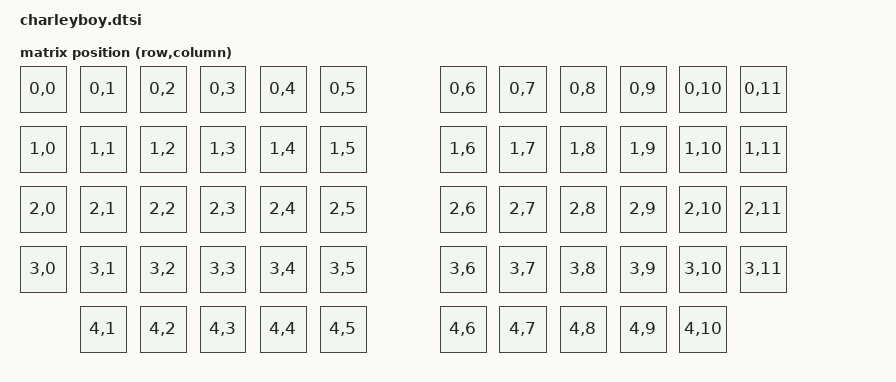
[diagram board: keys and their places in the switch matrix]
#include <dt-bindings/zmk/matrix_transform.h>
#include <physical_layouts.dtsi>


/ {
    chosen {
        zmk,kscan = &kscan0;
       /* zmk,matrix-transform = &default_transform; */
        zmk,physical-layout = &default_layout;
    };

    kscan0: kscan {
        compatible = "zmk,kscan-gpio-matrix";
        diode-direction = "col2row";
        wakeup-source;
    };

    default_transform: matrix_transform {
        compatible = "zmk,matrix-transform";
        columns = <12>;
        rows = <5>;

        map = <
RC(0,0) RC(0,1) RC(0,2) RC(0,3) RC(0,4) RC(0,5)  RC(0,6) RC(0,7) RC(0,8) RC(0,9) RC(0,10) RC(0,11)
RC(1,0) RC(1,1) RC(1,2) RC(1,3) RC(1,4) RC(1,5)  RC(1,6) RC(1,7) RC(1,8) RC(1,9) RC(1,10) RC(1,11)
RC(2,0) RC(2,1) RC(2,2) RC(2,3) RC(2,4) RC(2,5)  RC(2,6) RC(2,7) RC(2,8) RC(2,9) RC(2,10) RC(2,11)
RC(3,0) RC(3,1) RC(3,2) RC(3,3) RC(3,4) RC(3,5)  RC(3,6) RC(3,7) RC(3,8) RC(3,9) RC(3,10) RC(3,11)
        RC(4,1) RC(4,2) RC(4,3) RC(4,4) RC(4,5)  RC(4,6) RC(4,7) RC(4,8) RC(4,9) RC(4,10)
        >;
    };

    default_layout: default_layout {
        compatible = "zmk,physical-layout";
        display-name = "Default Layout";
        kscan = <&kscan0>;
        transform = <&default_transform>;

        keys
        // ========================
        // ROW 0
        // ========================
        = <&key_physical_attrs 100 100    0    0 0 0 0>
        , <&key_physical_attrs 100 100  120    0 0 0 0>
        , <&key_physical_attrs 100 100  240    0 0 0 0>
        , <&key_physical_attrs 100 100  360    0 0 0 0>
        , <&key_physical_attrs 100 100  480    0 0 0 0>
        , <&key_physical_attrs 100 100  600    0 0 0 0>

        , <&key_physical_attrs 100 100  840    0 0 0 0>
        , <&key_physical_attrs 100 100  960    0 0 0 0>
        , <&key_physical_attrs 100 100 1080    0 0 0 0>
        , <&key_physical_attrs 100 100 1200    0 0 0 0>
        , <&key_physical_attrs 100 100 1320    0 0 0 0>
        , <&key_physical_attrs 100 100 1440    0 0 0 0>

        // ========================
        // ROW 1
        // ========================
        , <&key_physical_attrs 100 100    0  120 0 0 0>
        , <&key_physical_attrs 100 100  120  120 0 0 0>
        , <&key_physical_attrs 100 100  240  120 0 0 0>
        , <&key_physical_attrs 100 100  360  120 0 0 0>
        , <&key_physical_attrs 100 100  480  120 0 0 0>
        , <&key_physical_attrs 100 100  600  120 0 0 0>

        , <&key_physical_attrs 100 100  840  120 0 0 0>
        , <&key_physical_attrs 100 100  960  120 0 0 0>
        , <&key_physical_attrs 100 100 1080  120 0 0 0>
        , <&key_physical_attrs 100 100 1200  120 0 0 0>
        , <&key_physical_attrs 100 100 1320  120 0 0 0>
        , <&key_physical_attrs 100 100 1440  120 0 0 0>

        // ========================
        // ROW 2
        // ========================
        , <&key_physical_attrs 100 100    0  240 0 0 0>
        , <&key_physical_attrs 100 100  120  240 0 0 0>
        , <&key_physical_attrs 100 100  240  240 0 0 0>
        , <&key_physical_attrs 100 100  360  240 0 0 0>
        , <&key_physical_attrs 100 100  480  240 0 0 0>
        , <&key_physical_attrs 100 100  600  240 0 0 0>

        , <&key_physical_attrs 100 100  840  240 0 0 0>
        , <&key_physical_attrs 100 100  960  240 0 0 0>
        , <&key_physical_attrs 100 100 1080  240 0 0 0>
        , <&key_physical_attrs 100 100 1200  240 0 0 0>
        , <&key_physical_attrs 100 100 1320  240 0 0 0>
        , <&key_physical_attrs 100 100 1440  240 0 0 0>

        // ========================
        // ROW 3
        // ========================
        , <&key_physical_attrs 100 100    0  360 0 0 0>
        , <&key_physical_attrs 100 100  120  360 0 0 0>
        , <&key_physical_attrs 100 100  240  360 0 0 0>
        , <&key_physical_attrs 100 100  360  360 0 0 0>
        , <&key_physical_attrs 100 100  480  360 0 0 0>
        , <&key_physical_attrs 100 100  600  360 0 0 0>

        , <&key_physical_attrs 100 100  840  360 0 0 0>
        , <&key_physical_attrs 100 100  960  360 0 0 0>
        , <&key_physical_attrs 100 100 1080  360 0 0 0>
        , <&key_physical_attrs 100 100 1200  360 0 0 0>
        , <&key_physical_attrs 100 100 1320  360 0 0 0>
        , <&key_physical_attrs 100 100 1440  360 0 0 0>

        // ========================
        // THUMB ROW (10 keys)
        // RC(4,1)–RC(4,10)
        // ========================

        , <&key_physical_attrs 100 100  120  480 0 0 0>
        , <&key_physical_attrs 100 100  240  480 0 0 0>
        , <&key_physical_attrs 100 100  360  480 0 0 0>
        , <&key_physical_attrs 100 100  480  480 0 0 0>
        , <&key_physical_attrs 100 100  600  480 0 0 0>

        , <&key_physical_attrs 100 100  840  480 0 0 0>
        , <&key_physical_attrs 100 100  960  480 0 0 0>
        , <&key_physical_attrs 100 100 1080  480 0 0 0>
        , <&key_physical_attrs 100 100 1200  480 0 0 0>
        , <&key_physical_attrs 100 100 1320  480 0 0 0>
        ;
    };
};
